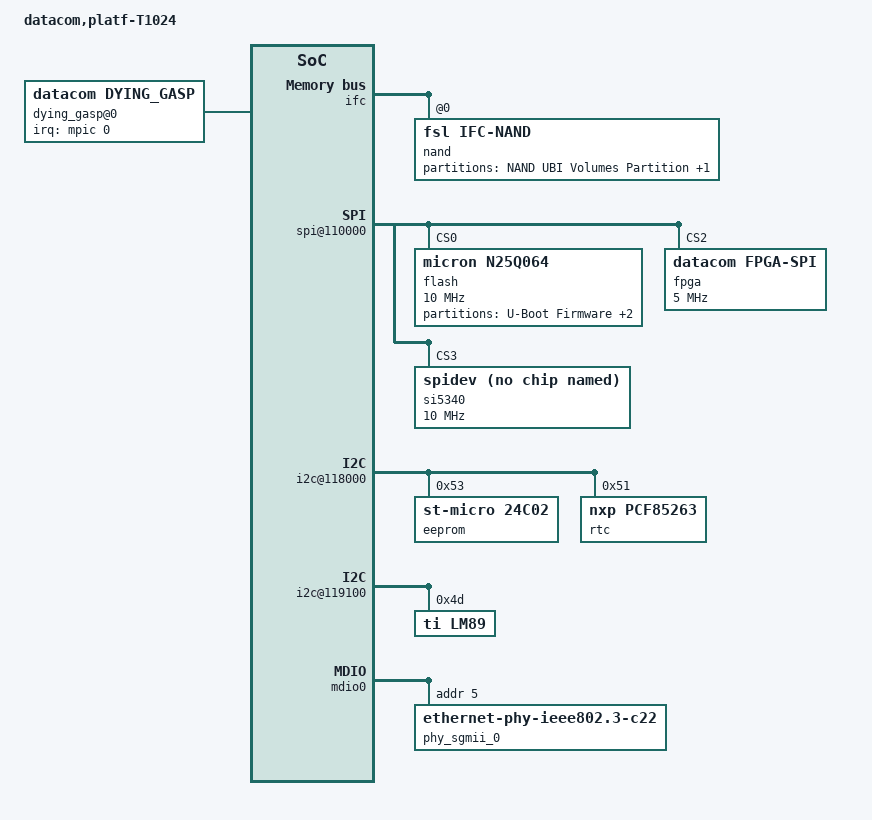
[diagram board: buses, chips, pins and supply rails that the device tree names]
/*
 * Datacom PD3901 (DM4300 4GT+4GX+4XS) Device Tree Source
 *
 * Copyright 2017 Teracom Telematica S/A
 *
 */

/include/ "t102xsi-pre.dtsi"

/ {
	model = "datacom,platf-T1024";
	compatible = "datacom,platf-T1024";
	#address-cells = <2>;
	#size-cells = <2>;
	interrupt-parent = <&mpic>;

	aliases {
		phy_sgmii_0 = &phy_sgmii_0;
	};

	reserved-memory {
		#address-cells = <2>;
		#size-cells = <2>;
		ranges;

		bman_fbpr: bman-fbpr {
			size = <0 0x1000000>;
			alignment = <0 0x1000000>;
		};
		qman_fqd: qman-fqd {
			size = <0 0x400000>;
			alignment = <0 0x400000>;
		};
		qman_pfdr: qman-pfdr {
			size = <0 0x2000000>;
			alignment = <0 0x2000000>;
		};
	};

	ifc: localbus@ffe124000 {
		reg = <0xf 0xfe124000 0 0x2000>;
		ranges = <0 0 0xf 0xff800000 0x00010000>;

		nand@0,0 {
			compatible = "fsl,ifc-nand";
			reg = <0x0 0x0 0x10000>;
			#address-cells = <1>;
			#size-cells = <1>;

			partition@0 {
				reg = <0x00000000 0x3FC00000>;
				label = "NAND UBI Volumes Partition";
			};

			partition@3FC00000 {
				reg = <0x3FC00000 0x00400000>;
				label = "NAND mtdoops Partition";
			};
		};
	};

	memory {
		device_type = "memory";
	};

	dcsr: dcsr@f00000000 {
		ranges = <0x00000000 0xf 0x00000000 0x01072000>;
	};

	bportals: bman-portals@ff4000000 {
		ranges = <0x0 0xf 0xf4000000 0x2000000>;
	};

	qportals: qman-portals@ff6000000 {
		ranges = <0x0 0xf 0xf6000000 0x2000000>;
	};

	soc: soc@ffe000000 {
		ranges = <0x00000000 0xf 0xfe000000 0x1000000>;
		reg = <0xf 0xfe000000 0 0x00001000>;
		spi@110000 {
			flash@0 { /* NOR cpu */
				compatible = "micron,n25q064", "jedec,spi-nor";
				reg = <0>;
				spi-max-frequency = <10000000>;
				#address-cells = <1>;
				#size-cells = <1>;
				partition@0 {
					/* Main bootloader firmware (1344 kB) */
					reg = <0x0 0x150000>;
					label = "U-Boot Firmware";
				};

				partition@150000 {
					/* First environment partition (64 kB) */
					reg = <0x150000 0x10000>;
					label = "U-Boot Environment #1";
				};

				partition@160000 {
					/* Second environment partition (64 kB) */
					reg = <0x160000 0x10000>;
					label = "U-Boot Environment #2";
				};
			};

			fpga@2 {
				#address-cells = <1>;
				#size-cells = <1>;
				compatible = "datacom,fpga-spi";
				reg = <2>; /* chip-select */
				spi-max-frequency = <5000000>; /* input clock */

				fpga-debug@0 {
					compatible = "datacom,fpga-dev";
					reg = <0x00 0x1000>;
				};

				fpga-global@10 {
					compatible = "datacom,fpga-dev";
					reg = <0x10 0x10>;
				};

				fpga-fan@20 {
					compatible = "datacom,fpga-dev";
					reg = <0x020 0x10>;
				};

				fpga-watchdog@40 {
					compatible = "datacom,fpga-watchdog";
					reg = <0x040 0x10>;
					timeout-sec = <30>;
					gpios = <&gpio0 13 0>;  /* For ping thru GPIO1_13 */
				};

				fpga-tcv-eth@100 {
					compatible = "datacom,fpga-dev";
					reg = <0x100 0x10>;
				};

				fpgai2cctrleth: fpga-i2cctrl-eth@120 {
					#address-cells = <1>;
					#size-cells = <0>;
					compatible = "datacom,fpga-master-i2c";
					reg = <0x120 0x10>;
				};
				fpga-i2cctrl-eth-matrix@130 {
					#address-cells = <1>;
					#size-cells = <0>;
					compatible = "datacom,fpga-matrix-i2c";
					reg = <0x130 0x08>;
					i2c-parent = <&fpgai2cctrleth>;
					i2c@0 {
						reg-sda = <0>;
						reg-scl = <0>;
					};
					i2c@1 {
						reg-sda = <1>;
						reg-scl = <0>;
					};
					i2c@2 {
						reg-sda = <2>;
						reg-scl = <0>;
					};
					i2c@3 {
						reg-sda = <0>;
						reg-scl = <1>;
					};
					i2c@4 {
						reg-sda = <0>;
						reg-scl = <2>;
					};
					i2c@5 {
						reg-sda = <1>;
						reg-scl = <2>;
					};
					i2c@6 {
						reg-sda = <1>;
						reg-scl = <1>;
					};
					i2c@7 {
						reg-sda = <2>;
						reg-scl = <1>;
					};
				};

				fpga-led@160 {
					compatible = "datacom,fpga-dev";
					reg = <0x0160 0x10>;
				};

			};

			si5340@3 { /* FPGA SPI mux with SPIE_MUX_SEL = default 0 */
				compatible = "rohm,dh2228fv";
				reg = <3>;
				spi-max-frequency = <10000000>; /* maximum input clock */
			};
		};

		i2c@118000 {	/* I2C 1 */
			fsl,preserve-clocking;
			eeprom@53 { /* inventory */
				compatible = "st-micro,24c02";
				reg = <0x53>;
				pagesize = <0x8>;
			};
			rtc@51 { /* rtc */
				compatible = "nxp,pcf85263";
				reg = <0x51>;
			};
		};

		i2c@118100 {	/* I2C 2 */
			/* No slaves attached, enabled for device node and controller
			   cardinal coherence. */
		};

		i2c@119000 {	/* I2C 3 (no slaves attached) */
			/* No slaves attached, enabled for device node and controller
			   cardinal coherence. */
		};

		i2c@119100 {	/* I2C 4 */
			fsl,preserve-clocking;
			lm89@4d {
				compatible = "ti,lm89";
				reg = <0x4d>;
				#address-cells = <1>;
				#size-cells = <0>;
			};
		};

		fman@400000 {

			fm1mac1: ethernet@e0000 {
				phy-handle = <&phy_sgmii_0>;
				phy-connection-type = "sgmii";
				sleep = <&rcpm 0x10000000>;
			};

			fm1mac2: ethernet@e2000 {
				status = "disabled";
			};

			fm1mac3: ethernet@e4000 {
				status = "disabled";
			};

			fm1mac4: ethernet@e6000 {
				status = "disabled";
			};

			mdio0: mdio@fc000 {
				phy_sgmii_0: ethernet-phy@05 {
					compatible = "ethernet-phy-ieee802.3-c22";
					interrupts = <3 1 0 0>;
					reg = <0x05>;
				};
			};
		};

		dying_gasp@0 {
			compatible = "datacom,dying_gasp";
			interrupt-parent = <&mpic>;
			reg = <0x0>;
			/* Triggering:
			 *   1 - edge rising
			 *   2 - edge falling
			 *   4 - level active high
			 *   8 - level active low
			 */
			interrupts = <0 2 0 0>; /* Monitor IRQ0, edge falling */
		};
	};

	pci0: pcie@ffe240000 {
		reg = <0xf 0xfe240000 0 0x10000>;
		ranges = <0x02000000 0 0x80000000 0xc 0x00000000 0 0x80000000
			  0x01000000 0 0x00000000 0xf 0xf8000000 0 0x00100000>;
		status = "disabled";
		pcie@0 {
			ranges = <0x02000000 0 0xe0000000
				  0x02000000 0 0xe0000000
				  0 0x10000000

				  0x01000000 0 0x00000000
				  0x01000000 0 0x00000000
				  0 0x00010000>;
		};
	};

	pci1: pcie@ffe250000 {
		reg = <0xf 0xfe250000 0 0x10000>;
		ranges = <0x02000000 0 0x80000000 0xc 0x80000000 0 0x80000000
			  0x01000000 0 0x00000000 0xf 0xf8100000 0 0x00100000>;
		pcie@0 {
			ranges = <0x02000000 0 0xe0000000
				  0x02000000 0 0xe0000000
				  0 0x10000000

				  0x01000000 0 0x00000000
				  0x01000000 0 0x00000000
				  0 0x00010000>;
		};
	};

	pci2: pcie@ffe260000 {
		reg = <0xf 0xfe260000 0 0x10000>;
		ranges = <0x02000000 0 0x80000000 0xd 0x00000000 0 0x80000000
			  0x01000000 0 0x00000000 0xf 0xf8200000 0 0x00100000>;
		status = "disabled";
		pcie@0 {
			ranges = <0x02000000 0 0xe0000000
				  0x02000000 0 0xe0000000
				  0 0x10000000

				  0x01000000 0 0x00000000
				  0x01000000 0 0x00000000
				  0 0x00010000>;
		};
	};

};

/include/ "t1024si-post.dtsi"

&soc {
	usb@211000 {
		dr_mode = "peripheral";
	};
};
